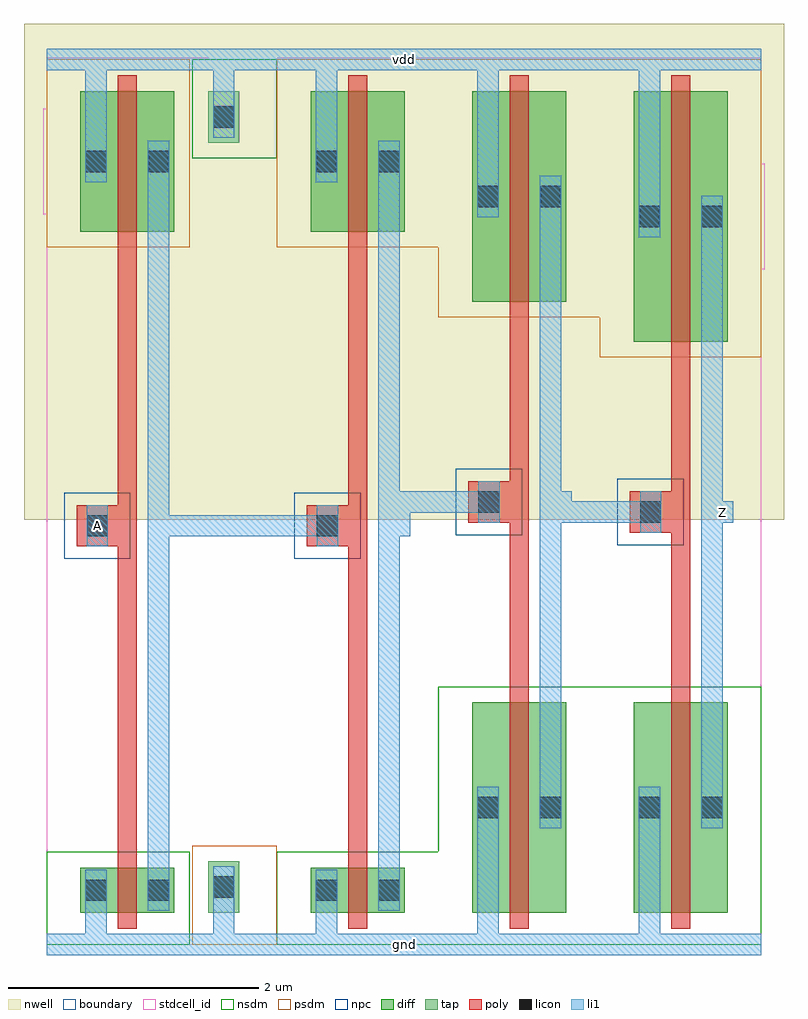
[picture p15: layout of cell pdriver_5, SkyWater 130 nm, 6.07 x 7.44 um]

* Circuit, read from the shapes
.subckt pdriver_5 A Z gnd vdd
XM1 pinv_7_1/A A gnd gnd sky130_fd_pr__nfet_01v8 w=0.36 l=0.15
XM2 pinv_11_2/A pinv_7_1/A gnd gnd sky130_fd_pr__nfet_01v8 w=0.36 l=0.15
XM3 pinv_12_3/A pinv_11_2/A gnd gnd sky130_fd_pr__nfet_01v8 w=1.68 l=0.15
XM4 Z pinv_12_3/A gnd gnd sky130_fd_pr__nfet_01v8 w=1.68 l=0.15
XM5 pinv_7_1/A A vdd vdd sky130_fd_pr__pfet_01v8 w=1.12 l=0.15
XM6 pinv_11_2/A pinv_7_1/A vdd vdd sky130_fd_pr__pfet_01v8 w=1.12 l=0.15
XM7 pinv_12_3/A pinv_11_2/A vdd vdd sky130_fd_pr__pfet_01v8 w=1.68 l=0.15
XM8 Z pinv_12_3/A vdd vdd sky130_fd_pr__pfet_01v8 w=2 l=0.15
.ends

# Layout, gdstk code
import gdstk
lib = gdstk.Library(unit=1e-6, precision=1e-09)
def R(c, l, rs):  # rectangles x0, y0, x1, y1
    for r in rs: c.add(gdstk.rectangle(r[:2], r[2:], *l))
nwell = (64, 20)
diff = (65, 20)
tap = (65, 44)
poly = (66, 20)
licon = (66, 44)
li1 = (67, 20)
stdcell_id = (81, 4)
nsdm = (93, 44)
psdm = (94, 20)
npc = (95, 20)
boundary = (235, 4)

contact_11 = lib.new_cell('contact_11')
R(contact_11, nwell, [(-0.295,-0.255,0.545,0.585)])
R(contact_11, diff, [(0,0.02,0.25,0.31)])
R(contact_11, licon, [(0.04,0.08,0.21,0.25)])
R(contact_11, li1, [(0.04,0,0.21,0.33)])
R(contact_11, stdcell_id, [(-0.295,-0.255,0.545,0.585)])
R(contact_11, psdm, [(-0.125,-0.105,0.375,0.435)])
R(contact_11, boundary, [(-0.295,-0.255,0.545,0.585)])

pmos_m1_w1_120_sli_dli_d = lib.new_cell('pmos_m1_w1_120_sli_dli_da_p')
R(pmos_m1_w1_120_sli_dli_d, nwell, [(-0.27,-0.27,1.02,1.39)])
R(pmos_m1_w1_120_sli_dli_d, diff, [(0,0,0.75,1.12)])
R(pmos_m1_w1_120_sli_dli_d, poly, [(0.3,-0.13,0.45,1.25), (0.3,-0.13,0.45,1.25)])
R(pmos_m1_w1_120_sli_dli_d, li1, [(0.04,0.395,0.21,0.725), (0.54,0.395,0.71,0.725)])
R(pmos_m1_w1_120_sli_dli_d, stdcell_id, [(-0.27,-0.27,1.02,1.39)])
R(pmos_m1_w1_120_sli_dli_d, psdm, [(-0.125,-0.125,0.875,1.245)])
R(pmos_m1_w1_120_sli_dli_d, boundary, [(-0.27,-0.27,1.02,1.39)])
pmos_m1_w1_120_sli_dli_d.add(gdstk.Reference(contact_11, (0,0.395)))
pmos_m1_w1_120_sli_dli_d.add(gdstk.Reference(contact_11, (0.5,0.395)))
pmos_m1_w1_120_sli_dli_d.add(gdstk.Label('S', (0.125,0.56), layer=67, texttype=16))
pmos_m1_w1_120_sli_dli_d.add(gdstk.Label('G', (0.375,0.56), layer=66, texttype=16))
pmos_m1_w1_120_sli_dli_d.add(gdstk.Label('D', (0.625,0.56), layer=67, texttype=16))

contact_17 = lib.new_cell('contact_17')
R(contact_17, diff, [(0,0.02,0.25,0.31)])
R(contact_17, licon, [(0.04,0.08,0.21,0.25)])
R(contact_17, li1, [(0.04,0,0.21,0.33)])
R(contact_17, stdcell_id, [(-0.125,-0.105,0.375,0.435)])
R(contact_17, nsdm, [(-0.125,-0.105,0.375,0.435)])
R(contact_17, boundary, [(-0.125,-0.105,0.375,0.435)])

nmos_m1_w0_360_sli_dli_d = lib.new_cell('nmos_m1_w0_360_sli_dli_da_p')
R(nmos_m1_w0_360_sli_dli_d, diff, [(0,0,0.75,0.36)])
R(nmos_m1_w0_360_sli_dli_d, poly, [(0.3,-0.13,0.45,0.49), (0.3,-0.13,0.45,0.49)])
R(nmos_m1_w0_360_sli_dli_d, li1, [(0.04,0.015,0.21,0.345), (0.54,0.015,0.71,0.345)])
R(nmos_m1_w0_360_sli_dli_d, stdcell_id, [(-0.125,-0.13,0.875,0.49)])
R(nmos_m1_w0_360_sli_dli_d, nsdm, [(-0.125,-0.125,0.875,0.485)])
R(nmos_m1_w0_360_sli_dli_d, boundary, [(-0.125,-0.13,0.875,0.49)])
nmos_m1_w0_360_sli_dli_d.add(gdstk.Reference(contact_17, (0,0.015)))
nmos_m1_w0_360_sli_dli_d.add(gdstk.Reference(contact_17, (0.5,0.015)))
nmos_m1_w0_360_sli_dli_d.add(gdstk.Label('S', (0.125,0.18), layer=67, texttype=16))
nmos_m1_w0_360_sli_dli_d.add(gdstk.Label('G', (0.375,0.18), layer=66, texttype=16))
nmos_m1_w0_360_sli_dli_d.add(gdstk.Label('D', (0.625,0.18), layer=67, texttype=16))

contact_24 = lib.new_cell('contact_24')
R(contact_24, nwell, [(-0.295,-0.215,0.545,0.625)])
R(contact_24, tap, [(0,0,0.25,0.41)])
R(contact_24, licon, [(0.04,0.12,0.21,0.29)])
R(contact_24, li1, [(0.04,0.04,0.21,0.37)])
R(contact_24, stdcell_id, [(-0.295,-0.215,0.545,0.625)])
R(contact_24, nsdm, [(-0.125,-0.125,0.375,0.535)])
R(contact_24, boundary, [(-0.295,-0.215,0.545,0.625)])

contact_25 = lib.new_cell('contact_25')
R(contact_25, tap, [(0,0,0.25,0.41)])
R(contact_25, licon, [(0.04,0.12,0.21,0.29)])
R(contact_25, li1, [(0.04,0.04,0.21,0.37)])
R(contact_25, stdcell_id, [(-0.125,-0.125,0.375,0.535)])
R(contact_25, psdm, [(-0.125,-0.125,0.375,0.535)])
R(contact_25, boundary, [(-0.125,-0.125,0.375,0.535)])

contact_12 = lib.new_cell('contact_12')
R(contact_12, poly, [(0,0,0.33,0.33)])
R(contact_12, licon, [(0.08,0.08,0.25,0.25)])
R(contact_12, li1, [(0.08,0,0.25,0.33)])
R(contact_12, stdcell_id, [(-0.1,-0.1,0.43,0.43)])
R(contact_12, npc, [(-0.1,-0.1,0.43,0.43)])
R(contact_12, boundary, [(-0.1,-0.1,0.43,0.43)])

pinv_4 = lib.new_cell('pinv_4')
R(pinv_4, nwell, [(-0.18,3.395,2.02,7.355)])
R(pinv_4, poly, [(0.57,0.745,0.72,5.565), (0.405,3.18,0.57,3.51)])
R(pinv_4, li1, [(0,-0.085,1.84,0.085), (0.31,-0.085,0.48,0.27), (1.33,0,1.5,0.46), (0.81,0.27,0.98,6.42), (0.32,3.18,0.49,3.51), (0.895,3.26,1.065,3.43), (0.31,6.09,0.48,7.155), (1.33,6.61,1.5,7.07), (0,6.985,1.84,7.155)])
R(pinv_4, stdcell_id, [(0,0,1.84,7.07), (0,0,1.84,7.07)])
R(pinv_4, nsdm, [(0,0,1.145,0.74), (1.165,6.28,1.84,7.07)])
R(pinv_4, psdm, [(1.165,0,1.84,0.79), (0,5.57,1.145,7.07)])
R(pinv_4, boundary, [(0,0,1.84,7.07), (0,0,1.84,7.07)])
pinv_4.add(gdstk.Reference(pmos_m1_w1_120_sli_dli_d, (0.27,5.695)))
pinv_4.add(gdstk.Reference(nmos_m1_w0_360_sli_dli_d, (0.27,0.255)))
pinv_4.add(gdstk.Reference(contact_24, (1.29,6.405)))
pinv_4.add(gdstk.Reference(contact_25, (1.29,0.255)))
pinv_4.add(gdstk.Reference(contact_12, (0.24,3.18)))
pinv_4.add(gdstk.Label('gnd', (0.92,0), layer=67, texttype=16))
pinv_4.add(gdstk.Label('Z', (0.98,3.345), layer=67, texttype=16))
pinv_4.add(gdstk.Label('vdd', (0.92,7.07), layer=67, texttype=16))
pinv_4.add(gdstk.Label('A', (0.405,3.345), layer=67, texttype=16))

pinv_7 = lib.new_cell('pinv_7')
R(pinv_7, nwell, [(-0.18,3.395,1.47,7.355)])
R(pinv_7, poly, [(0.57,0.745,0.72,5.565), (0.405,3.18,0.57,3.51)])
R(pinv_7, li1, [(0,-0.085,1.29,0.085), (0.31,-0.085,0.48,0.27), (0.81,0.27,0.98,6.42), (0.32,3.18,0.49,3.51), (0.895,3.26,1.065,3.43), (0.31,6.09,0.48,7.155), (0,6.985,1.29,7.155)])
R(pinv_7, stdcell_id, [(0,0,1.29,7.07), (0,0,1.29,7.07)])
R(pinv_7, nsdm, [(0,0,1.29,0.74)])
R(pinv_7, psdm, [(0,5.57,1.29,7.07)])
R(pinv_7, boundary, [(0,0,1.29,7.07), (0,0,1.29,7.07)])
pinv_7.add(gdstk.Reference(pmos_m1_w1_120_sli_dli_d, (0.27,5.695)))
pinv_7.add(gdstk.Reference(nmos_m1_w0_360_sli_dli_d, (0.27,0.255)))
pinv_7.add(gdstk.Reference(contact_12, (0.24,3.18)))
pinv_7.add(gdstk.Label('gnd', (0.645,0), layer=67, texttype=16))
pinv_7.add(gdstk.Label('Z', (0.98,3.345), layer=67, texttype=16))
pinv_7.add(gdstk.Label('vdd', (0.645,7.07), layer=67, texttype=16))
pinv_7.add(gdstk.Label('A', (0.405,3.345), layer=67, texttype=16))

pmos_m3_w1_680_sli_dli_d = lib.new_cell('pmos_m3_w1_680_sli_dli_da_p')
R(pmos_m3_w1_680_sli_dli_d, nwell, [(-0.27,-0.27,1.02,1.95)])
R(pmos_m3_w1_680_sli_dli_d, diff, [(0,0,0.75,1.68)])
R(pmos_m3_w1_680_sli_dli_d, poly, [(0.3,-0.13,0.45,1.81), (0.3,-0.13,0.45,1.81)])
R(pmos_m3_w1_680_sli_dli_d, li1, [(0.04,0.675,0.21,1.005), (0.54,0.675,0.71,1.005)])
R(pmos_m3_w1_680_sli_dli_d, stdcell_id, [(-0.27,-0.27,1.02,1.95)])
R(pmos_m3_w1_680_sli_dli_d, psdm, [(-0.125,-0.125,0.875,1.805)])
R(pmos_m3_w1_680_sli_dli_d, boundary, [(-0.27,-0.27,1.02,1.95)])
pmos_m3_w1_680_sli_dli_d.add(gdstk.Reference(contact_11, (0,0.675)))
pmos_m3_w1_680_sli_dli_d.add(gdstk.Reference(contact_11, (0.5,0.675)))
pmos_m3_w1_680_sli_dli_d.add(gdstk.Label('S', (0.125,0.84), layer=67, texttype=16))
pmos_m3_w1_680_sli_dli_d.add(gdstk.Label('G', (0.375,0.84), layer=66, texttype=16))
pmos_m3_w1_680_sli_dli_d.add(gdstk.Label('D', (0.625,0.84), layer=67, texttype=16))

nmos_m3_w1_680_sli_dli_d = lib.new_cell('nmos_m3_w1_680_sli_dli_da_p')
R(nmos_m3_w1_680_sli_dli_d, diff, [(0,0,0.75,1.68)])
R(nmos_m3_w1_680_sli_dli_d, poly, [(0.3,-0.13,0.45,1.81), (0.3,-0.13,0.45,1.81)])
R(nmos_m3_w1_680_sli_dli_d, li1, [(0.04,0.675,0.21,1.005), (0.54,0.675,0.71,1.005)])
R(nmos_m3_w1_680_sli_dli_d, stdcell_id, [(-0.125,-0.13,0.875,1.81)])
R(nmos_m3_w1_680_sli_dli_d, nsdm, [(-0.125,-0.125,0.875,1.805)])
R(nmos_m3_w1_680_sli_dli_d, boundary, [(-0.125,-0.13,0.875,1.81)])
nmos_m3_w1_680_sli_dli_d.add(gdstk.Reference(contact_17, (0,0.675)))
nmos_m3_w1_680_sli_dli_d.add(gdstk.Reference(contact_17, (0.5,0.675)))
nmos_m3_w1_680_sli_dli_d.add(gdstk.Label('S', (0.125,0.84), layer=67, texttype=16))
nmos_m3_w1_680_sli_dli_d.add(gdstk.Label('G', (0.375,0.84), layer=66, texttype=16))
nmos_m3_w1_680_sli_dli_d.add(gdstk.Label('D', (0.625,0.84), layer=67, texttype=16))

pinv_11 = lib.new_cell('pinv_11')
R(pinv_11, nwell, [(-0.18,3.395,1.47,7.355)])
R(pinv_11, poly, [(0.57,2.065,0.72,5.005), (0.405,3.37,0.57,3.7)])
R(pinv_11, li1, [(0,-0.085,1.29,0.085), (0.31,-0.085,0.48,0.93), (0.81,0.93,0.98,6.14), (0.32,3.37,0.49,3.7), (0.895,3.45,1.065,3.62), (0.31,5.81,0.48,7.155), (0,6.985,1.29,7.155)])
R(pinv_11, stdcell_id, [(0,0,1.29,7.07), (0,0,1.29,7.07)])
R(pinv_11, nsdm, [(0,0,1.29,2.06)])
R(pinv_11, psdm, [(0,5.01,1.29,7.07)])
R(pinv_11, boundary, [(0,0,1.29,7.07), (0,0,1.29,7.07)])
pinv_11.add(gdstk.Reference(pmos_m3_w1_680_sli_dli_d, (0.27,5.135)))
pinv_11.add(gdstk.Reference(nmos_m3_w1_680_sli_dli_d, (0.27,0.255)))
pinv_11.add(gdstk.Reference(contact_12, (0.24,3.37)))
pinv_11.add(gdstk.Label('gnd', (0.645,0), layer=67, texttype=16))
pinv_11.add(gdstk.Label('Z', (0.98,3.535), layer=67, texttype=16))
pinv_11.add(gdstk.Label('vdd', (0.645,7.07), layer=67, texttype=16))
pinv_11.add(gdstk.Label('A', (0.405,3.535), layer=67, texttype=16))

pmos_m8_w2_000_sli_dli_d = lib.new_cell('pmos_m8_w2_000_sli_dli_da_p')
R(pmos_m8_w2_000_sli_dli_d, nwell, [(-0.27,-0.27,1.02,2.27)])
R(pmos_m8_w2_000_sli_dli_d, diff, [(0,0,0.75,2)])
R(pmos_m8_w2_000_sli_dli_d, poly, [(0.3,-0.13,0.45,2.13), (0.3,-0.13,0.45,2.13)])
R(pmos_m8_w2_000_sli_dli_d, li1, [(0.04,0.835,0.21,1.165), (0.54,0.835,0.71,1.165)])
R(pmos_m8_w2_000_sli_dli_d, stdcell_id, [(-0.27,-0.27,1.02,2.27)])
R(pmos_m8_w2_000_sli_dli_d, psdm, [(-0.125,-0.125,0.875,2.125)])
R(pmos_m8_w2_000_sli_dli_d, boundary, [(-0.27,-0.27,1.02,2.27)])
pmos_m8_w2_000_sli_dli_d.add(gdstk.Reference(contact_11, (0,0.835)))
pmos_m8_w2_000_sli_dli_d.add(gdstk.Reference(contact_11, (0.5,0.835)))
pmos_m8_w2_000_sli_dli_d.add(gdstk.Label('S', (0.125,1), layer=67, texttype=16))
pmos_m8_w2_000_sli_dli_d.add(gdstk.Label('G', (0.375,1), layer=66, texttype=16))
pmos_m8_w2_000_sli_dli_d.add(gdstk.Label('D', (0.625,1), layer=67, texttype=16))

nmos_m8_w1_680_sli_dli_d = lib.new_cell('nmos_m8_w1_680_sli_dli_da_p')
R(nmos_m8_w1_680_sli_dli_d, diff, [(0,0,0.75,1.68)])
R(nmos_m8_w1_680_sli_dli_d, poly, [(0.3,-0.13,0.45,1.81), (0.3,-0.13,0.45,1.81)])
R(nmos_m8_w1_680_sli_dli_d, li1, [(0.04,0.675,0.21,1.005), (0.54,0.675,0.71,1.005)])
R(nmos_m8_w1_680_sli_dli_d, stdcell_id, [(-0.125,-0.13,0.875,1.81)])
R(nmos_m8_w1_680_sli_dli_d, nsdm, [(-0.125,-0.125,0.875,1.805)])
R(nmos_m8_w1_680_sli_dli_d, boundary, [(-0.125,-0.13,0.875,1.81)])
nmos_m8_w1_680_sli_dli_d.add(gdstk.Reference(contact_17, (0,0.675)))
nmos_m8_w1_680_sli_dli_d.add(gdstk.Reference(contact_17, (0.5,0.675)))
nmos_m8_w1_680_sli_dli_d.add(gdstk.Label('S', (0.125,0.84), layer=67, texttype=16))
nmos_m8_w1_680_sli_dli_d.add(gdstk.Label('G', (0.375,0.84), layer=66, texttype=16))
nmos_m8_w1_680_sli_dli_d.add(gdstk.Label('D', (0.625,0.84), layer=67, texttype=16))

pinv_12 = lib.new_cell('pinv_12')
R(pinv_12, nwell, [(-0.18,3.395,1.47,7.355)])
R(pinv_12, poly, [(0.57,2.065,0.72,4.685), (0.405,3.29,0.57,3.62)])
R(pinv_12, li1, [(0,-0.085,1.29,0.085), (0.31,-0.085,0.48,0.93), (0.81,0.93,0.98,5.98), (0.32,3.29,0.49,3.62), (0.895,3.37,1.065,3.54), (0.31,5.65,0.48,7.155), (0,6.985,1.29,7.155)])
R(pinv_12, stdcell_id, [(0,0,1.29,7.07), (0,0,1.29,7.07)])
R(pinv_12, nsdm, [(0,0,1.29,2.06)])
R(pinv_12, psdm, [(0,4.69,1.29,7.07)])
R(pinv_12, boundary, [(0,0,1.29,7.07), (0,0,1.29,7.07)])
pinv_12.add(gdstk.Reference(pmos_m8_w2_000_sli_dli_d, (0.27,4.815)))
pinv_12.add(gdstk.Reference(nmos_m8_w1_680_sli_dli_d, (0.27,0.255)))
pinv_12.add(gdstk.Reference(contact_12, (0.24,3.29)))
pinv_12.add(gdstk.Label('gnd', (0.645,0), layer=67, texttype=16))
pinv_12.add(gdstk.Label('Z', (0.98,3.455), layer=67, texttype=16))
pinv_12.add(gdstk.Label('vdd', (0.645,7.07), layer=67, texttype=16))
pinv_12.add(gdstk.Label('A', (0.405,3.455), layer=67, texttype=16))

pdriver_5 = lib.new_cell('pdriver_5')
R(pdriver_5, nwell, [(-0.18,3.395,5.89,7.355)])
R(pdriver_5, li1, [(0,-0.085,5.71,0.085), (0.32,3.18,0.49,3.51), (0.98,3.26,2.245,3.43), (2.735,3.345,2.905,3.535), (4.025,3.37,4.195,3.54), (4.11,3.37,4.825,3.54), (5.315,3.37,5.485,3.54), (2.735,3.45,2.905,3.62), (2.82,3.45,3.535,3.62), (4.025,3.455,4.195,3.535), (0,6.985,5.71,7.155)])
R(pdriver_5, stdcell_id, [(0,0,5.71,7.07), (0,0,5.71,7.07)])
R(pdriver_5, boundary, [(0,0,5.71,7.07), (0,0,5.71,7.07)])
pdriver_5.add(gdstk.Reference(pinv_4, (0,0)))
pdriver_5.add(gdstk.Reference(pinv_7, (1.84,0)))
pdriver_5.add(gdstk.Reference(pinv_11, (3.13,0)))
pdriver_5.add(gdstk.Reference(pinv_12, (4.42,0)))
pdriver_5.add(gdstk.Label('gnd', (2.855,0), layer=67, texttype=16))
pdriver_5.add(gdstk.Label('Z', (5.4,3.455), layer=67, texttype=16))
pdriver_5.add(gdstk.Label('vdd', (2.855,7.07), layer=67, texttype=16))
pdriver_5.add(gdstk.Label('A', (0.405,3.345), layer=67, texttype=16))

lib.write_gds('pdriver_5.gds')
